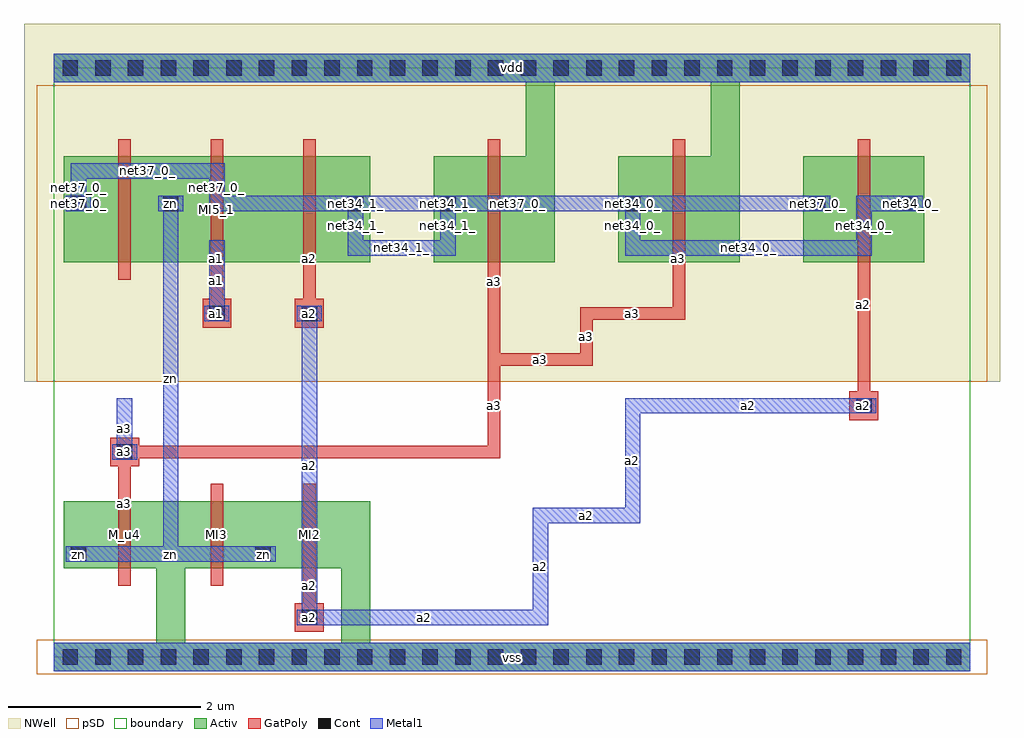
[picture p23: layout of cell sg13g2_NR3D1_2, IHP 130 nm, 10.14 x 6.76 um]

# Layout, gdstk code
import gdstk
lib = gdstk.Library(unit=1e-6, precision=1e-09)
def R(c, l, rs):  # rectangles x0, y0, x1, y1
    for r in rs: c.add(gdstk.rectangle(r[:2], r[2:], *l))
def A(c, l, x, y, w, h, nx, ny, dx, dy):  # array of equal rectangles
    R(c, l, [(x+i*dx, y+j*dy, x+i*dx+w, y+j*dy+h) for i in range(nx) for j in range(ny)])
Activ = (1, 0)
GatPoly = (5, 0)
Cont = (6, 0)
Metal1 = (8, 0)
pSD = (14, 0)
NWell = (31, 0)
TEXT = (63, 0)
boundary = (189, 4)

sg13g2_nr3d1_2 = lib.new_cell('sg13g2_NR3D1_2')
A(sg13g2_nr3d1_2, Activ, 0.105, 0.92, 1.26, 0.7, 3, 1, 0.96, 0)
A(sg13g2_nr3d1_2, Activ, 0.105, 4.1, 1.26, 1.1, 3, 1, 0.96, 0)
A(sg13g2_nr3d1_2, Activ, 3.945, 4.1, 1.26, 1.1, 3, 1, 1.92, 0)
A(sg13g2_nr3d1_2, Activ, 3.945, 4.56, 0.3, 0.3, 3, 1, 1.92, 0)
R(sg13g2_nr3d1_2, Activ, [(0,-0.15,9.52,0.15), (1.065,0.15,1.365,1.07), (2.985,0.15,3.285,1.07), (0.105,0.92,0.405,1.22), (2.025,0.92,2.325,1.22), (0.105,4.56,0.405,4.86), (1.065,4.56,1.365,4.86), (2.985,4.56,3.285,4.86), (8.745,4.56,9.045,4.86), (4.905,4.71,5.205,5.97), (6.825,4.71,7.125,5.97), (0,5.97,9.52,6.27)])
A(sg13g2_nr3d1_2, GatPoly, 0.67, 0.74, 0.13, 1.06, 3, 1, 0.96, 0)
A(sg13g2_nr3d1_2, GatPoly, 0.67, 3.92, 0.13, 1.46, 3, 1, 0.96, 0)
A(sg13g2_nr3d1_2, GatPoly, 4.51, 3.92, 0.13, 1.46, 3, 1, 1.92, 0)
R(sg13g2_nr3d1_2, GatPoly, [(2.505,0.26,2.805,0.56), (2.59,0.345,2.72,1.135), (0.67,1.005,0.8,2.195), (0.585,1.98,0.885,2.28), (0.67,2.065,4.64,2.195), (4.51,2.065,4.64,3.155), (8.265,2.46,8.565,2.76), (8.35,2.545,8.48,4.775), (4.51,3.025,5.6,3.155), (4.51,3.025,4.64,4.775), (5.47,3.025,5.6,3.635), (1.545,3.42,1.845,3.72), (2.505,3.42,2.805,3.72), (1.63,3.505,1.76,4.775), (2.59,3.505,2.72,4.775), (5.47,3.505,6.56,3.635), (6.43,3.505,6.56,4.775)])
A(sg13g2_nr3d1_2, Cont, 0.09, -0.08, 0.16, 0.16, 28, 2, 0.34, 6.12)
A(sg13g2_nr3d1_2, Cont, 4.015, 4.63, 0.16, 0.16, 3, 1, 1.92, 0)
R(sg13g2_nr3d1_2, Cont, [(2.575,0.33,2.735,0.49), (0.175,0.99,0.335,1.15), (2.095,0.99,2.255,1.15), (0.655,2.05,0.815,2.21), (8.335,2.53,8.495,2.69), (1.615,3.49,1.775,3.65), (2.575,3.49,2.735,3.65), (0.175,4.63,0.335,4.79), (1.135,4.63,1.295,4.79), (3.055,4.63,3.215,4.79), (8.815,4.63,8.975,4.79)])
A(sg13g2_nr3d1_2, Metal1, 3.965, 4.63, 0.26, 0.16, 3, 1, 1.92, 0)
R(sg13g2_nr3d1_2, Metal1, [(0,-0.15,9.52,0.15), (2.525,0.33,2.785,0.49), (2.575,0.33,5.135,0.49), (2.575,0.33,2.735,3.65), (4.975,0.33,5.135,1.55), (0.125,0.99,0.385,1.15), (0.175,0.99,2.255,1.15), (1.135,0.99,1.295,4.79), (2.045,0.99,2.305,1.15), (4.975,1.39,6.095,1.55), (5.935,1.39,6.095,2.69), (0.605,2.05,0.865,2.21), (0.655,2.05,0.815,2.69), (5.935,2.53,8.495,2.69), (8.285,2.53,8.545,2.69), (1.565,3.49,1.825,3.65), (1.615,3.49,1.775,4.33), (2.525,3.49,2.785,3.65), (3.055,4.17,4.175,4.33), (3.055,4.17,3.215,4.79), (4.015,4.17,4.175,4.79), (5.935,4.17,8.495,4.33), (5.935,4.17,6.095,4.79), (8.335,4.17,8.495,4.79), (0.125,4.63,0.385,4.79), (0.175,4.63,0.335,5.13), (1.085,4.63,1.345,4.79), (1.615,4.63,8.015,4.79), (1.615,4.63,1.775,5.13), (3.005,4.63,3.265,4.79), (8.335,4.63,8.975,4.79), (8.765,4.63,9.025,4.79), (0.175,4.97,1.775,5.13), (0,5.97,9.52,6.27)])
R(sg13g2_nr3d1_2, pSD, [(-0.18,-0.18,9.7,0.18), (-0.18,2.86,9.7,5.94)])
R(sg13g2_nr3d1_2, NWell, [(-0.31,2.86,9.83,6.58)])
R(sg13g2_nr3d1_2, boundary, [(0,0,9.52,6.12)])
sg13g2_nr3d1_2.add(gdstk.FlexPath([(0.105,0.41),(9.045,0.41)], 0, ends="flush", simple_path=True, layer=63, datatype=0))  # TEXT
sg13g2_nr3d1_2.add(gdstk.FlexPath([(0.105,1.07),(9.045,1.07)], 0, ends="flush", simple_path=True, layer=63, datatype=0))  # TEXT
sg13g2_nr3d1_2.add(gdstk.FlexPath([(0.105,1.47),(9.045,1.47)], 0, ends="flush", simple_path=True, layer=63, datatype=0))  # TEXT
sg13g2_nr3d1_2.add(gdstk.FlexPath([(0.105,2.13),(9.045,2.13)], 0, ends="flush", simple_path=True, layer=63, datatype=0))  # TEXT
sg13g2_nr3d1_2.add(gdstk.FlexPath([(0.105,2.61),(9.045,2.61)], 0, ends="flush", simple_path=True, layer=63, datatype=0))  # TEXT
sg13g2_nr3d1_2.add(gdstk.FlexPath([(0.105,3.09),(9.045,3.09)], 0, ends="flush", simple_path=True, layer=63, datatype=0))  # TEXT
sg13g2_nr3d1_2.add(gdstk.FlexPath([(0.105,3.57),(9.045,3.57)], 0, ends="flush", simple_path=True, layer=63, datatype=0))  # TEXT
sg13g2_nr3d1_2.add(gdstk.FlexPath([(0.105,4.25),(9.045,4.25)], 0, ends="flush", simple_path=True, layer=63, datatype=0))  # TEXT
sg13g2_nr3d1_2.add(gdstk.FlexPath([(0.105,4.71),(9.045,4.71)], 0, ends="flush", simple_path=True, layer=63, datatype=0))  # TEXT
sg13g2_nr3d1_2.add(gdstk.FlexPath([(0.105,5.05),(9.045,5.05)], 0, ends="flush", simple_path=True, layer=63, datatype=0))  # TEXT
sg13g2_nr3d1_2.add(gdstk.FlexPath([(0.105,5.71),(9.045,5.71)], 0, ends="flush", simple_path=True, layer=63, datatype=0))  # TEXT
sg13g2_nr3d1_2.add(gdstk.FlexPath([(0.255,0.15),(0.255,5.97)], 0, ends="flush", simple_path=True, layer=63, datatype=0))  # TEXT
sg13g2_nr3d1_2.add(gdstk.FlexPath([(0.735,0.15),(0.735,5.97)], 0, ends="flush", simple_path=True, layer=63, datatype=0))  # TEXT
sg13g2_nr3d1_2.add(gdstk.FlexPath([(1.215,0.15),(1.215,5.97)], 0, ends="flush", simple_path=True, layer=63, datatype=0))  # TEXT
sg13g2_nr3d1_2.add(gdstk.FlexPath([(1.695,0.15),(1.695,5.97)], 0, ends="flush", simple_path=True, layer=63, datatype=0))  # TEXT
sg13g2_nr3d1_2.add(gdstk.FlexPath([(2.175,0.15),(2.175,5.97)], 0, ends="flush", simple_path=True, layer=63, datatype=0))  # TEXT
sg13g2_nr3d1_2.add(gdstk.FlexPath([(2.655,0.15),(2.655,5.97)], 0, ends="flush", simple_path=True, layer=63, datatype=0))  # TEXT
sg13g2_nr3d1_2.add(gdstk.FlexPath([(3.135,0.15),(3.135,5.97)], 0, ends="flush", simple_path=True, layer=63, datatype=0))  # TEXT
sg13g2_nr3d1_2.add(gdstk.FlexPath([(3.615,0.15),(3.615,5.97)], 0, ends="flush", simple_path=True, layer=63, datatype=0))  # TEXT
sg13g2_nr3d1_2.add(gdstk.FlexPath([(4.095,0.15),(4.095,5.97)], 0, ends="flush", simple_path=True, layer=63, datatype=0))  # TEXT
sg13g2_nr3d1_2.add(gdstk.FlexPath([(4.575,0.15),(4.575,5.97)], 0, ends="flush", simple_path=True, layer=63, datatype=0))  # TEXT
sg13g2_nr3d1_2.add(gdstk.FlexPath([(5.055,0.15),(5.055,5.97)], 0, ends="flush", simple_path=True, layer=63, datatype=0))  # TEXT
sg13g2_nr3d1_2.add(gdstk.FlexPath([(5.535,0.15),(5.535,5.97)], 0, ends="flush", simple_path=True, layer=63, datatype=0))  # TEXT
sg13g2_nr3d1_2.add(gdstk.FlexPath([(6.015,0.15),(6.015,5.97)], 0, ends="flush", simple_path=True, layer=63, datatype=0))  # TEXT
sg13g2_nr3d1_2.add(gdstk.FlexPath([(6.495,0.15),(6.495,5.97)], 0, ends="flush", simple_path=True, layer=63, datatype=0))  # TEXT
sg13g2_nr3d1_2.add(gdstk.FlexPath([(6.975,0.15),(6.975,5.97)], 0, ends="flush", simple_path=True, layer=63, datatype=0))  # TEXT
sg13g2_nr3d1_2.add(gdstk.FlexPath([(7.455,0.15),(7.455,5.97)], 0, ends="flush", simple_path=True, layer=63, datatype=0))  # TEXT
sg13g2_nr3d1_2.add(gdstk.FlexPath([(7.935,0.15),(7.935,5.97)], 0, ends="flush", simple_path=True, layer=63, datatype=0))  # TEXT
sg13g2_nr3d1_2.add(gdstk.FlexPath([(8.415,0.15),(8.415,5.97)], 0, ends="flush", simple_path=True, layer=63, datatype=0))  # TEXT
sg13g2_nr3d1_2.add(gdstk.FlexPath([(8.895,0.15),(8.895,5.97)], 0, ends="flush", simple_path=True, layer=63, datatype=0))  # TEXT
sg13g2_nr3d1_2.add(gdstk.Label('zn', (0.255,1.07), layer=6, texttype=0))
sg13g2_nr3d1_2.add(gdstk.Label('zn', (2.175,1.07), layer=6, texttype=0))
sg13g2_nr3d1_2.add(gdstk.Label('zn', (1.215,4.71), layer=6, texttype=0))
sg13g2_nr3d1_2.add(gdstk.Label('a3', (0.735,2.13), layer=6, texttype=0))
sg13g2_nr3d1_2.add(gdstk.Label('a2', (2.655,0.41), layer=6, texttype=0))
sg13g2_nr3d1_2.add(gdstk.Label('a2', (8.415,2.61), layer=6, texttype=0))
sg13g2_nr3d1_2.add(gdstk.Label('a2', (2.655,3.57), layer=6, texttype=0))
sg13g2_nr3d1_2.add(gdstk.Label('a1', (1.695,3.57), layer=6, texttype=0))
sg13g2_nr3d1_2.add(gdstk.Label('net37_0_', (7.935,4.71), layer=6, texttype=0))
sg13g2_nr3d1_2.add(gdstk.Label('net37_0_', (0.255,4.71), layer=6, texttype=0))
sg13g2_nr3d1_2.add(gdstk.Label('net34_0_', (8.895,4.71), layer=6, texttype=0))
sg13g2_nr3d1_2.add(gdstk.Label('net34_0_', (6.015,4.71), layer=6, texttype=0))
sg13g2_nr3d1_2.add(gdstk.Label('net34_1_', (4.095,4.71), layer=6, texttype=0))
sg13g2_nr3d1_2.add(gdstk.Label('net34_1_', (3.135,4.71), layer=6, texttype=0))
sg13g2_nr3d1_2.add(gdstk.Label('net37_0_', (7.935,4.71), layer=8, texttype=0))
sg13g2_nr3d1_2.add(gdstk.Label('net37_0_', (0.255,4.71), layer=8, texttype=0))
sg13g2_nr3d1_2.add(gdstk.Label('net37_0_', (4.815,4.71), layer=8, texttype=0))
sg13g2_nr3d1_2.add(gdstk.Label('net37_0_', (1.695,4.88), layer=8, texttype=0))
sg13g2_nr3d1_2.add(gdstk.Label('net37_0_', (0.975,5.05), layer=8, texttype=0))
sg13g2_nr3d1_2.add(gdstk.Label('net37_0_', (0.255,4.88), layer=8, texttype=0))
sg13g2_nr3d1_2.add(gdstk.Label('net34_0_', (8.895,4.71), layer=8, texttype=0))
sg13g2_nr3d1_2.add(gdstk.Label('net34_0_', (6.015,4.71), layer=8, texttype=0))
sg13g2_nr3d1_2.add(gdstk.Label('net34_0_', (8.655,4.71), layer=8, texttype=0))
sg13g2_nr3d1_2.add(gdstk.Label('net34_0_', (8.415,4.48), layer=8, texttype=0))
sg13g2_nr3d1_2.add(gdstk.Label('net34_0_', (7.215,4.25), layer=8, texttype=0))
sg13g2_nr3d1_2.add(gdstk.Label('net34_0_', (6.015,4.48), layer=8, texttype=0))
sg13g2_nr3d1_2.add(gdstk.Label('net34_1_', (4.095,4.71), layer=8, texttype=0))
sg13g2_nr3d1_2.add(gdstk.Label('net34_1_', (3.135,4.71), layer=8, texttype=0))
sg13g2_nr3d1_2.add(gdstk.Label('net34_1_', (4.095,4.48), layer=8, texttype=0))
sg13g2_nr3d1_2.add(gdstk.Label('net34_1_', (3.615,4.25), layer=8, texttype=0))
sg13g2_nr3d1_2.add(gdstk.Label('net34_1_', (3.135,4.48), layer=8, texttype=0))
sg13g2_nr3d1_2.add(gdstk.Label('zn', (0.255,1.07), layer=8, texttype=25))
sg13g2_nr3d1_2.add(gdstk.Label('zn', (2.175,1.07), layer=8, texttype=25))
sg13g2_nr3d1_2.add(gdstk.Label('zn', (1.215,4.71), layer=8, texttype=25))
sg13g2_nr3d1_2.add(gdstk.Label('zn', (1.215,1.07), layer=8, texttype=25))
sg13g2_nr3d1_2.add(gdstk.Label('zn', (1.215,2.89), layer=8, texttype=25))
sg13g2_nr3d1_2.add(gdstk.Label('a3', (0.735,2.13), layer=8, texttype=25))
sg13g2_nr3d1_2.add(gdstk.Label('a3', (0.735,2.37), layer=8, texttype=25))
sg13g2_nr3d1_2.add(gdstk.Label('a2', (2.655,0.41), layer=8, texttype=25))
sg13g2_nr3d1_2.add(gdstk.Label('a2', (3.855,0.41), layer=8, texttype=25))
sg13g2_nr3d1_2.add(gdstk.Label('a2', (5.055,0.94), layer=8, texttype=25))
sg13g2_nr3d1_2.add(gdstk.Label('a2', (5.535,1.47), layer=8, texttype=25))
sg13g2_nr3d1_2.add(gdstk.Label('a2', (6.015,2.04), layer=8, texttype=25))
sg13g2_nr3d1_2.add(gdstk.Label('a2', (7.215,2.61), layer=8, texttype=25))
sg13g2_nr3d1_2.add(gdstk.Label('a2', (8.415,2.61), layer=8, texttype=25))
sg13g2_nr3d1_2.add(gdstk.Label('a2', (2.655,1.99), layer=8, texttype=25))
sg13g2_nr3d1_2.add(gdstk.Label('a2', (2.655,3.57), layer=8, texttype=25))
sg13g2_nr3d1_2.add(gdstk.Label('a1', (1.695,3.57), layer=8, texttype=25))
sg13g2_nr3d1_2.add(gdstk.Label('a1', (1.695,3.91), layer=8, texttype=25))
sg13g2_nr3d1_2.add(gdstk.Label('vss', (4.76,0), layer=8, texttype=25))
sg13g2_nr3d1_2.add(gdstk.Label('vdd', (4.76,6.12), layer=8, texttype=25))
sg13g2_nr3d1_2.add(gdstk.Label('M_u4', (0.735,1.27), layer=1, texttype=0))
sg13g2_nr3d1_2.add(gdstk.Label('MI2', (2.655,1.27), layer=1, texttype=0))
sg13g2_nr3d1_2.add(gdstk.Label('MI3', (1.695,1.27), layer=1, texttype=0))
sg13g2_nr3d1_2.add(gdstk.Label('MI4_0', (8.415,4.65), layer=1, texttype=0))
sg13g2_nr3d1_2.add(gdstk.Label('M_u1_0', (6.495,4.65), layer=1, texttype=0))
sg13g2_nr3d1_2.add(gdstk.Label('M_u1_1', (4.575,4.65), layer=1, texttype=0))
sg13g2_nr3d1_2.add(gdstk.Label('MI4_1', (2.655,4.65), layer=1, texttype=0))
sg13g2_nr3d1_2.add(gdstk.Label('MI5_0', (0.735,4.65), layer=1, texttype=0))
sg13g2_nr3d1_2.add(gdstk.Label('MI5_1', (1.695,4.65), layer=1, texttype=0))
sg13g2_nr3d1_2.add(gdstk.Label('zn', (0.255,1.07), layer=1, texttype=0))
sg13g2_nr3d1_2.add(gdstk.Label('zn', (2.175,1.07), layer=1, texttype=0))
sg13g2_nr3d1_2.add(gdstk.Label('zn', (1.215,4.71), layer=1, texttype=0))
sg13g2_nr3d1_2.add(gdstk.Label('net37_0_', (7.935,4.71), layer=1, texttype=0))
sg13g2_nr3d1_2.add(gdstk.Label('net37_0_', (0.255,4.71), layer=1, texttype=0))
sg13g2_nr3d1_2.add(gdstk.Label('net34_0_', (8.895,4.71), layer=1, texttype=0))
sg13g2_nr3d1_2.add(gdstk.Label('net34_0_', (6.015,4.71), layer=1, texttype=0))
sg13g2_nr3d1_2.add(gdstk.Label('net34_1_', (4.095,4.71), layer=1, texttype=0))
sg13g2_nr3d1_2.add(gdstk.Label('net34_1_', (3.135,4.71), layer=1, texttype=0))
sg13g2_nr3d1_2.add(gdstk.Label('a3', (0.735,1.6), layer=5, texttype=0))
sg13g2_nr3d1_2.add(gdstk.Label('a3', (2.655,2.13), layer=5, texttype=0))
sg13g2_nr3d1_2.add(gdstk.Label('a3', (4.575,2.61), layer=5, texttype=0))
sg13g2_nr3d1_2.add(gdstk.Label('a3', (5.055,3.09), layer=5, texttype=0))
sg13g2_nr3d1_2.add(gdstk.Label('a3', (5.535,3.33), layer=5, texttype=0))
sg13g2_nr3d1_2.add(gdstk.Label('a3', (6.015,3.57), layer=5, texttype=0))
sg13g2_nr3d1_2.add(gdstk.Label('a3', (6.495,4.14), layer=5, texttype=0))
sg13g2_nr3d1_2.add(gdstk.Label('a3', (4.575,3.9), layer=5, texttype=0))
sg13g2_nr3d1_2.add(gdstk.Label('a3', (0.735,2.13), layer=5, texttype=0))
sg13g2_nr3d1_2.add(gdstk.Label('a2', (2.655,0.74), layer=5, texttype=0))
sg13g2_nr3d1_2.add(gdstk.Label('a2', (2.655,0.41), layer=5, texttype=0))
sg13g2_nr3d1_2.add(gdstk.Label('a2', (8.415,2.61), layer=5, texttype=0))
sg13g2_nr3d1_2.add(gdstk.Label('a2', (8.415,3.66), layer=5, texttype=0))
sg13g2_nr3d1_2.add(gdstk.Label('a2', (2.655,3.57), layer=5, texttype=0))
sg13g2_nr3d1_2.add(gdstk.Label('a2', (2.655,4.14), layer=5, texttype=0))
sg13g2_nr3d1_2.add(gdstk.Label('a1', (1.695,4.14), layer=5, texttype=0))
sg13g2_nr3d1_2.add(gdstk.Label('a1', (1.695,3.57), layer=5, texttype=0))

lib.write_gds('sg13g2_NR3D1_2.gds')
